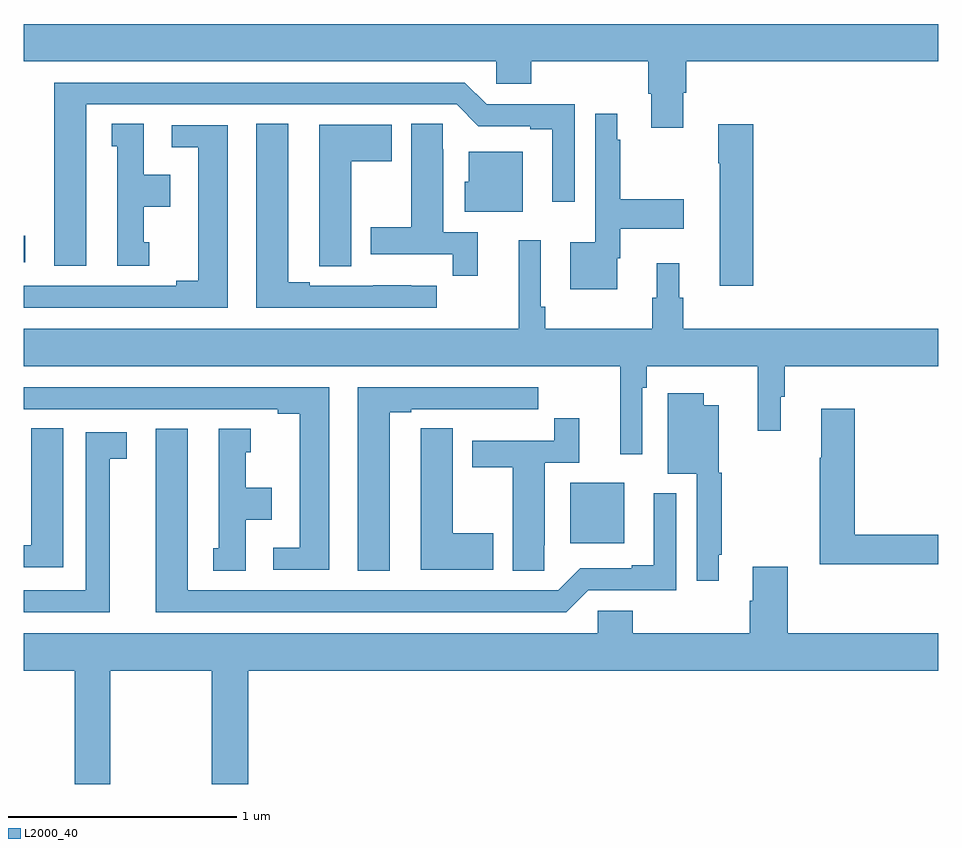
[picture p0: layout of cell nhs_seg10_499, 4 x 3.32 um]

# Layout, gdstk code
import gdstk
lib = gdstk.Library(unit=1e-6, precision=1e-09)
def R(c, l, rs):  # rectangles x0, y0, x1, y1
    for r in rs: c.add(gdstk.rectangle(r[:2], r[2:], *l))
def P(c, l, *ps):  # polygons
    for p in ps: c.add(gdstk.Polygon(p, *l))
L2000_40 = (2000, 40)

nhs_seg10_499 = lib.new_cell('nhs_seg10_499')
R(nhs_seg10_499, L2000_40, [(137.39,1287.554,137.626,1287.817), (135,1288.782,135.007,1288.898)])
P(nhs_seg10_499, L2000_40, [(137.884,1289.523),(137.897,1289.523),(137.897,1289.66),(139,1289.66),(139,1289.824),(135,1289.824),(135,1289.66),(137.067,1289.66),(137.067,1289.562),(137.219,1289.562),(137.219,1289.66),(137.732,1289.66),(137.732,1289.518),(137.744,1289.518),(137.744,1289.37),(137.884,1289.37)],
  [(135.274,1289.472),(136.893,1289.472),(136.989,1289.376),(137.216,1289.376),(137.216,1289.364),(137.312,1289.364),(137.312,1289.046),(137.409,1289.046),(137.409,1289.472),(137.025,1289.472),(136.929,1289.568),(135.134,1289.568),(135.134,1288.767),(135.274,1288.767)],
  [(137.596,1288.8),(137.608,1288.8),(137.608,1288.928),(137.887,1288.928),(137.887,1289.058),(137.608,1289.058),(137.608,1289.318),(137.596,1289.318),(137.596,1289.431),(137.499,1289.431),(137.499,1288.87),(137.39,1288.87),(137.39,1288.664),(137.596,1288.664)],
  [(136.985,1288.914),(136.834,1288.914),(136.834,1289.276),(136.833,1289.276),(136.833,1289.387),(136.694,1289.387),(136.694,1288.935),(136.517,1288.935),(136.517,1288.818),(136.876,1288.818),(136.876,1288.722),(136.985,1288.722)],
  [(136.807,1288.68),(136.694,1288.68),(136.694,1288.681),(136.528,1288.681),(136.528,1288.68),(136.252,1288.68),(136.252,1288.695),(136.156,1288.695),(136.156,1289.387),(136.016,1289.387),(136.016,1288.584),(136.807,1288.584)],
  [(135.55,1288.869),(135.526,1288.869),(135.526,1289.024),(135.64,1289.024),(135.64,1289.164),(135.526,1289.164),(135.526,1289.387),(135.386,1289.387),(135.386,1289.289),(135.41,1289.289),(135.41,1288.767),(135.55,1288.767)],
  [(138.191,1289.386),(138.037,1289.386),(138.037,1289.216),(138.044,1289.216),(138.044,1288.68),(138.191,1288.68)],
  [(136.432,1289.224),(136.609,1289.224),(136.609,1289.383),(136.292,1289.383),(136.292,1288.873),(136.293,1288.873),(136.293,1288.765),(136.432,1288.765)],
  [(135.892,1289.382),(135.648,1289.382),(135.648,1289.286),(135.764,1289.286),(135.764,1288.7),(135.668,1288.7),(135.668,1288.68),(135,1288.68),(135,1288.584),(135.892,1288.584)],
  [(137.182,1289.266),(136.946,1289.266),(136.946,1289.133),(136.928,1289.133),(136.928,1289.003),(137.182,1289.003)],
  [(137.706,1288.232),(137.726,1288.232),(137.726,1288.328),(138.211,1288.328),(138.211,1288.044),(138.31,1288.044),(138.31,1288.194),(138.329,1288.194),(138.329,1288.328),(139,1288.328),(139,1288.492),(137.885,1288.492),(137.885,1288.626),(137.866,1288.626),(137.866,1288.777),(137.768,1288.777),(137.768,1288.626),(137.749,1288.626),(137.749,1288.492),(137.282,1288.492),(137.282,1288.588),(137.262,1288.588),(137.262,1288.879),(137.165,1288.879),(137.165,1288.492),(135,1288.492),(135,1288.328),(137.609,1288.328),(137.609,1287.942),(137.706,1287.942)],
  [(136.6,1288.125),(136.696,1288.125),(136.696,1288.14),(136.972,1288.14),(136.972,1288.139),(137.138,1288.139),(137.138,1288.14),(137.251,1288.14),(137.251,1288.236),(136.46,1288.236),(136.46,1287.433),(136.6,1287.433)],
  [(136.336,1288.236),(135,1288.236),(135,1288.14),(136.112,1288.14),(136.112,1288.12),(136.208,1288.12),(136.208,1287.534),(136.092,1287.534),(136.092,1287.438),(136.336,1287.438)],
  [(138.04,1287.502),(138.052,1287.502),(138.052,1287.861),(138.04,1287.861),(138.04,1288.156),(137.974,1288.156),(137.974,1288.21),(137.816,1288.21),(137.816,1287.857),(137.943,1287.857),(137.943,1287.39),(138.04,1287.39)],
  [(139,1287.59),(138.635,1287.59),(138.635,1288.141),(138.488,1288.141),(138.488,1287.928),(138.481,1287.928),(138.481,1287.462),(139,1287.462)],
  [(137.277,1287.544),(137.278,1287.544),(137.278,1287.906),(137.429,1287.906),(137.429,1288.099),(137.32,1288.099),(137.32,1288.002),(136.961,1288.002),(136.961,1287.886),(137.138,1287.886),(137.138,1287.433),(137.277,1287.433)],
  [(137.053,1287.597),(136.876,1287.597),(136.876,1288.055),(136.737,1288.055),(136.737,1287.947),(136.736,1287.947),(136.736,1287.437),(137.053,1287.437)],
  [(135.172,1288.055),(135.033,1288.055),(135.033,1287.947),(135.032,1287.947),(135.032,1287.544),(135,1287.544),(135,1287.447),(135.172,1287.447)],
  [(135.97,1287.656),(136.084,1287.656),(136.084,1287.796),(135.97,1287.796),(135.97,1287.951),(135.994,1287.951),(135.994,1288.054),(135.854,1288.054),(135.854,1287.531),(135.83,1287.531),(135.83,1287.433),(135.97,1287.433)],
  [(137.469,1287.348),(137.853,1287.348),(137.853,1287.772),(137.756,1287.772),(137.756,1287.457),(137.66,1287.457),(137.66,1287.444),(137.433,1287.444),(137.337,1287.348),(135.718,1287.348),(135.718,1288.054),(135.578,1288.054),(135.578,1287.252),(137.373,1287.252)],
  [(135.376,1287.922),(135.451,1287.922),(135.451,1288.038),(135.272,1288.038),(135.272,1287.348),(135,1287.348),(135,1287.252),(135.376,1287.252)],
  [(135.378,1286.996),(135.823,1286.996),(135.823,1286.5),(135.983,1286.5),(135.983,1286.996),(139,1286.996),(139,1287.16),(138.341,1287.16),(138.341,1287.451),(138.188,1287.451),(138.188,1287.302),(138.176,1287.302),(138.176,1287.16),(137.663,1287.16),(137.663,1287.258),(137.511,1287.258),(137.511,1287.16),(135,1287.16),(135,1286.996),(135.223,1286.996),(135.223,1286.5),(135.378,1286.5)])

lib.write_gds('nhs_seg10_499.gds')
